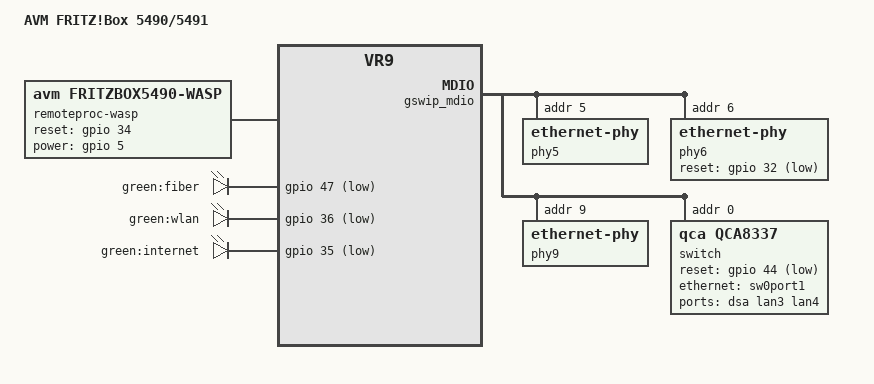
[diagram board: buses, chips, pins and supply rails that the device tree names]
// SPDX-License-Identifier: GPL-2.0-or-later OR MIT

#include "vr9_avm_fritzxx90.dtsi"

/ {
	compatible = "avm,fritz5490", "lantiq,xway", "lantiq,vr9";
	model = "AVM FRITZ!Box 5490/5491";

	remoteproc-wasp {
		compatible = "avm,fritzbox5490-wasp";
		mdio-device = <&gswip_mdio>;
		link-interface = <&port5>;
		reset-gpios = <&gpio 34 GPIO_ACTIVE_HIGH>;
		power-gpios = <&gpio 5 GPIO_ACTIVE_HIGH>;
	};
};

&aliases {
	led-dsl = &led_info_green;
	led-internet = &led_internet;
	led-wifi = &led_wifi;
};

&leds {
	led_fiber: fiber {
		label = "green:fiber";
		gpios = <&gpio 47 GPIO_ACTIVE_LOW>;
	};

	led_wifi: wifi {
		label = "green:wlan";
		gpios = <&gpio 36 GPIO_ACTIVE_LOW>;
	};

	led_internet: internet {
		label = "green:internet";
		gpios = <&gpio 35 GPIO_ACTIVE_LOW>;
	};
};

&gswip_mdio {
	phy5: ethernet-phy@5 {
		reg = <0x05>;
	};

	phy6: ethernet-phy@6 {
		reg = <0x06>;
		reset-gpios = <&gpio 32 GPIO_ACTIVE_LOW>;
	};

	phy9: ethernet-phy@9 {
		reg = <0x09>;
	};

	switch@0 {
		compatible = "qca,qca8337";
		#address-cells = <1>;
		#size-cells = <0>;
		reset-gpios = <&gpio 44 GPIO_ACTIVE_LOW>;
		reg = <0x0>;

		dsa,member = <1 1>;

		ports {
			#address-cells = <1>;
			#size-cells = <0>;

			sw1port0: port@0 {
				reg = <0>;
				label = "dsa";
				ethernet = <&sw0port1>;
				phy-mode = "rgmii";

				fixed-link {
					speed = <1000>;
					full-duplex;
				};
			};

			port@2 {
				reg = <2>;
				label = "lan3";
				phy-mode = "internal";
			};

			port@3 {
				reg = <3>;
				label = "lan4";
				phy-mode = "internal";
			};
		};
	};
};

&gswip_ports {
	port@0 {
		reg = <0>;
		label = "wan";
		phy-mode = "rgmii-rxid";
		phy-handle = <&phy6>;
	};

	sw0port1: port@1 {
		reg = <1>;
		label = "lan-qca8k";
		phy-mode = "rgmii";

		fixed-link {
			speed = <1000>;
			full-duplex;
		};
	};

	port@2 {
		reg = <2>;
		label = "lan2";
		phy-mode = "internal";
		phy-handle = <&phy5>;
	};

	port@4 {
		reg = <4>;
		label = "lan1";
		phy-mode = "internal";
		phy-handle = <&phy9>;
	};
};
